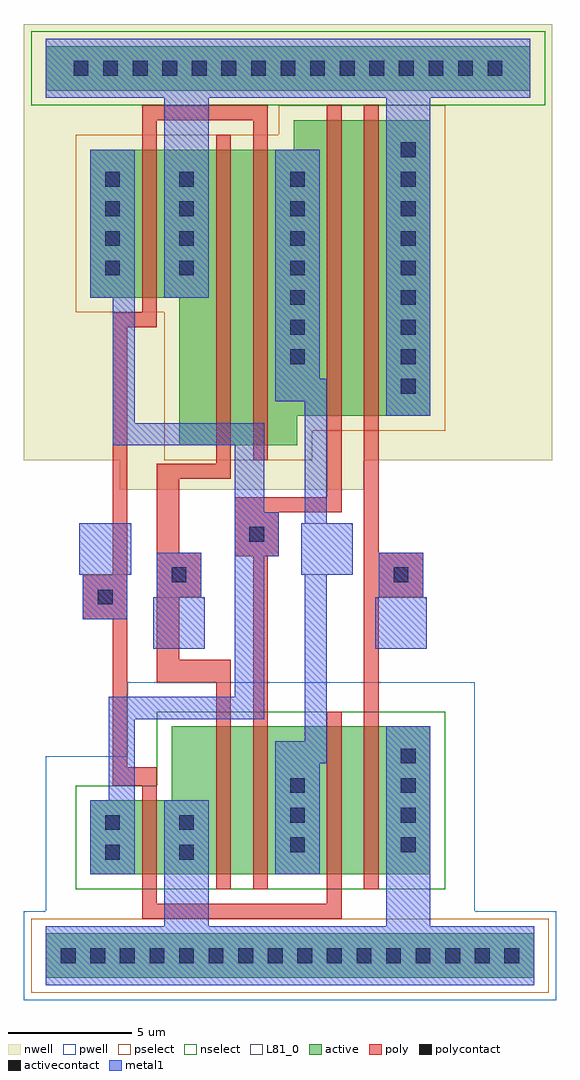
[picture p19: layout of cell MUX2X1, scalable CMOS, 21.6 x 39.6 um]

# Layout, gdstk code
import gdstk
lib = gdstk.Library(unit=1e-6, precision=1e-09)
def R(c, l, rs):  # rectangles x0, y0, x1, y1
    for r in rs: c.add(gdstk.rectangle(r[:2], r[2:], *l))
def A(c, l, x, y, w, h, nx, ny, dx, dy):  # array of equal rectangles
    R(c, l, [(x+i*dx, y+j*dy, x+i*dx+w, y+j*dy+h) for i in range(nx) for j in range(ny)])
pwell = (41, 0)
nwell = (42, 0)
active = (43, 0)
pselect = (44, 0)
nselect = (45, 0)
poly = (46, 0)
polycontact = (47, 0)
activecontact = (48, 0)
metal1 = (49, 0)
L81_0 = (81, 0)

mux2x1 = lib.new_cell('MUX2X1')
R(mux2x1, pwell, [(-1.8,-1.8,19.8,1.8), (-0.9,1.8,16.5,8.1), (2.4,8.1,16.5,11.1)])
R(mux2x1, nwell, [(2.1,18.9,12,20.1), (-1.8,20.1,19.65,37.8)])
R(mux2x1, active, [(-0.9,-0.9,18.9,0.9), (0.9,3.3,14.7,6.3), (4.2,6.3,14.7,9.3), (4.5,20.7,9.3,21.9), (4.5,21.9,14.7,26.7), (0.9,26.7,14.7,32.7), (9.15,32.7,14.7,33.9), (-0.9,35.1,18.75,36.9)])
R(mux2x1, pselect, [(-1.5,-1.5,19.5,1.5), (3.9,20.1,9.9,21.3), (3.9,21.3,15.3,26.1), (0.3,26.1,15.3,33.3), (8.55,33.3,15.3,34.5)])
R(mux2x1, nselect, [(0.3,2.7,15.3,6.9), (3.6,6.9,15.3,9.9), (-1.5,34.5,19.35,37.5)])
R(mux2x1, poly, [(3,1.5,11.1,2.1), (3,2.1,3.6,6.9), (10.5,2.1,11.1,9.9), (6,2.7,6.6,11.1), (7.5,2.7,8.1,16.2), (12,2.7,12.6,14.55), (1.8,6.9,3.6,7.65), (1.8,7.65,2.4,13.65), (3.6,11.1,6.6,12), (3.6,12,4.5,14.55), (0.6,13.65,2.4,15.45), (3.6,14.55,5.4,16.35), (12,14.55,14.4,16.35), (1.8,15.45,2.4,25.5), (6.75,16.2,8.55,18), (3.6,16.35,4.5,19.35), (12,16.35,12.6,34.5), (6.75,18,11.1,18.6), (10.5,18.6,11.1,34.5), (3.6,19.35,6.6,19.95), (6,19.95,6.6,33.3), (7.5,20.1,8.1,33.9), (1.8,25.5,3.6,26.1), (3,26.1,3.6,33.9), (3,33.9,8.1,34.5)])
R(mux2x1, polycontact, [(1.2,14.25,1.8,14.85), (4.2,15.15,4.8,15.75), (13.2,15.15,13.8,15.75), (7.35,16.8,7.95,17.4)])
A(mux2x1, activecontact, -0.3, -0.3, 0.6, 0.6, 16, 1, 1.2, 0)
A(mux2x1, activecontact, 9, 4.2, 0.6, 0.6, 1, 3, 0, 1.2)
A(mux2x1, activecontact, 13.5, 4.2, 0.6, 0.6, 1, 4, 0, 1.2)
A(mux2x1, activecontact, 13.5, 22.8, 0.6, 0.6, 1, 4, 0, 1.2)
A(mux2x1, activecontact, 9, 24, 0.6, 0.6, 1, 3, 0, 1.2)
A(mux2x1, activecontact, 1.5, 27.6, 0.6, 0.6, 1, 4, 0, 1.2)
A(mux2x1, activecontact, 4.5, 27.6, 0.6, 0.6, 3, 4, 4.5, 1.2)
A(mux2x1, activecontact, 0.22, 35.7, 0.6, 0.6, 15, 1, 1.2, 0)
R(mux2x1, activecontact, [(1.5,3.9,2.1,4.5), (4.5,3.9,5.1,4.5), (1.5,5.1,2.1,5.7), (4.5,5.1,5.1,5.7), (13.5,32.4,14.1,33)])
R(mux2x1, metal1, [(-0.9,-1.2,18.9,1.2), (3.9,1.2,5.7,6.3), (12.9,1.2,14.7,9.3), (0.9,3.3,2.7,6.3), (8.4,3.3,10.2,7.8), (1.65,6.3,2.7,9.6), (8.4,7.8,10.5,8.7), (9.6,8.7,10.5,15.45), (1.65,9.6,7.95,10.5), (6.75,10.5,7.95,16.2), (3.45,12.45,5.55,14.55), (12.45,12.45,14.55,14.55), (0.6,13.65,2.4,15.45), (3.6,14.55,5.4,16.35), (12.6,14.55,14.4,16.35), (0.45,15.45,2.55,17.55), (9.45,15.45,11.55,17.55), (6.75,16.2,8.55,18), (9.6,17.55,10.5,22.5), (6.75,18,7.95,20.7), (1.8,20.7,7.95,21.6), (1.8,21.6,2.7,26.7), (12.9,21.9,14.7,34.8), (8.4,22.5,10.5,23.4), (8.4,23.4,10.2,32.7), (0.9,26.7,2.7,32.7), (3.9,26.7,5.7,34.8), (-0.9,34.8,18.75,37.2)])
R(mux2x1, L81_0, [(3.45,12.45,5.55,14.55), (12.45,12.45,14.55,14.55), (0.45,15.45,2.55,17.55), (9.45,15.45,11.55,17.55)])

lib.write_gds('MUX2X1.gds')
